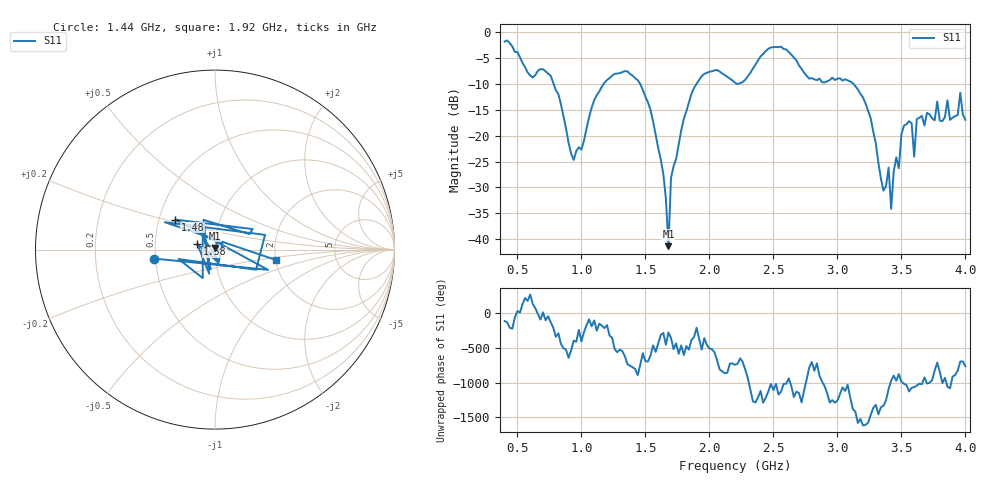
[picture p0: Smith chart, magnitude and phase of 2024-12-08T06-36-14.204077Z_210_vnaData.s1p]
!Created with skrf (http://scikit-rf.org).
# Hz S RI R 50.0
!freq ReS11 ImS11
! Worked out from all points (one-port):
!   181 points, 400 MHz to 4 GHz, reference 50 ohm
!   lowest |S11| = -41.4 dB at 1.68 GHz (marker M1), VSWR 1.02, Z = 50.1 + j0.85 ohm
!   |S11| at or under -10 dB: 783 MHz to 1.173 GHz (390 MHz wide, 39.9 % of centre); 1.46 GHz to 1.898 GHz (438.3 MHz wide, 26.1 % of centre); 3.126 GHz to end of sweep (the widest 3 of 4)
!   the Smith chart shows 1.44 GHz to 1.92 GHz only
!   S11 on the Smith chart (normalised r, x): 1.44 GHz: 0.49, -0.06; 1.48 GHz: 0.61, +0.22; 1.58 GHz: 0.82, +0.05; 1.92 GHz: 2.02, -0.27
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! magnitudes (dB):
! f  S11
! 400 MHz  -1.8
! 760 MHz  -8.4
! 860 MHz  -16.2
! 940 MHz  -24.7
! 1.3 GHz  -7.9
! 1.44 GHz  -9.2
! 1.48 GHz  -11.2
! 1.58 GHz  -19.8
! 1.64 GHz  -27.4
! 1.68 GHz  -41.4
! 1.7 GHz  -28.1
! 1.76 GHz  -21.7
! 1.92 GHz  -9.2
! 2.2 GHz  -9.7
! 2.66 GHz  -4.9
! 3.1 GHz  -9.5
! 3.26 GHz  -16.6
! 3.36 GHz  -30.6
! 3.4 GHz  -26.2
! 3.42 GHz  -34.2
! 3.46 GHz  -24.2
! 3.56 GHz  -17.2
! 3.6 GHz  -24.0
! 3.62 GHz  -16.8
! 3.78 GHz  -13.4
! 3.88 GHz  -16.9
! 3.96 GHz  -11.7
! 4 GHz  -16.9
